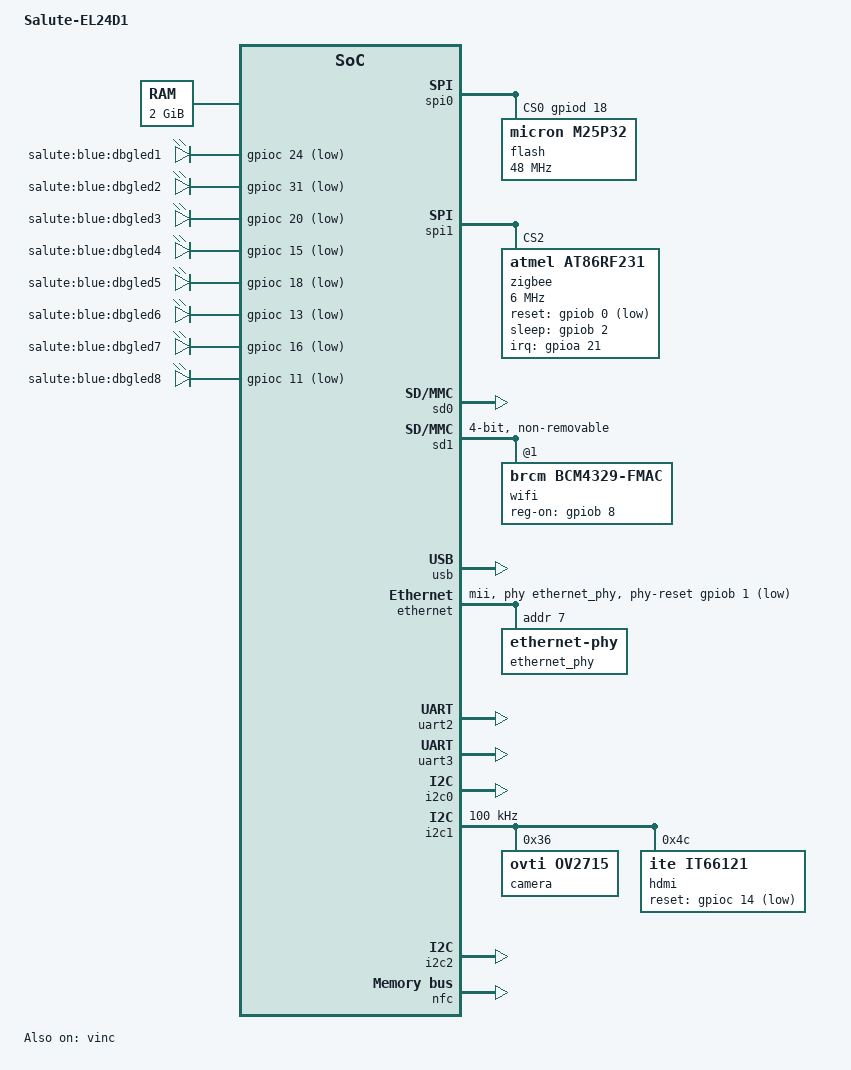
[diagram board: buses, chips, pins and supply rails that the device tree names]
/*
* Copyright 2015 ELVEES NeoTek CJSC
*
* This program is free software; you can redistribute it and/or modify
* it under the terms of the GNU General Public License version 2 as
* published by the Free Software Foundation.
*/

/dts-v1/;

#include <dt-bindings/interrupt-controller/irq.h>
#include <dt-bindings/gpio/gpio.h>

#include "mcom02.dtsi"

/ {
	model = "Salute-EL24D1";
	revision = "1.3";

	chosen {
		bootargs = "console=ttyS0,115200";
	};

	memory {
		device_type = "memory";
		reg = <0x40000000 0x40000000
		       0xa0000000 0x40000000>;
	};

	leds {
		compatible = "gpio-leds";

		dbgled@1 {
			label = "salute:blue:dbgled1";
			gpios = <&gpioc 24 GPIO_ACTIVE_LOW>;
			linux,default-trigger = "heartbeat";
		};

		dbgled@2 {
			label = "salute:blue:dbgled2";
			gpios = <&gpioc 31 GPIO_ACTIVE_LOW>;
			linux,default-trigger = "mmc0";
		};

		dbgled@3 {
			label = "salute:blue:dbgled3";
			gpios = <&gpioc 20 GPIO_ACTIVE_LOW>;
			default-state = "off";
		};

		dbgled@4 {
			label = "salute:blue:dbgled4";
			gpios = <&gpioc 15 GPIO_ACTIVE_LOW>;
			default-state = "off";
		};

		dbgled@5 {
			label = "salute:blue:dbgled5";
			gpios = <&gpioc 18 GPIO_ACTIVE_LOW>;
			default-state = "off";
		};

		dbgled@6 {
			label = "salute:blue:dbgled6";
			gpios = <&gpioc 13 GPIO_ACTIVE_LOW>;
			default-state = "off";
		};

		dbgled@7 {
			label = "salute:blue:dbgled7";
			gpios = <&gpioc 16 GPIO_ACTIVE_LOW>;
			default-state = "off";
		};

		dbgled@8 {
			label = "salute:blue:dbgled8";
			gpios = <&gpioc 11 GPIO_ACTIVE_LOW>;
			default-state = "off";
		};
	};
};

&spi0 {
	status = "okay";
	num-cs = <1>;
	cs-gpios = <&gpiod 18 GPIO_ACTIVE_HIGH>;

	flash: flash {
		#address-cells = <1>;
		#size-cells = <1>;
		compatible = "micron,m25p32", "jedec,spi-nor";
		reg = <0>;
		spi-max-frequency = <48000000>;
		m25p,fast-read;
	};
};

&spi1 {
	/* Synopsys SPI has hardware Chip Select support.
	* SPI1_nSS0 and SPI1_nSS1 are wired to X4, SPI1_nSS2
	* is wired to Zigbee. */

	status = "okay";

	zigbee: zigbee@2 {
		compatible = "atmel,at86rf231";
		/* max-frequency for at86rf231 is 7500000, but we
		 * set it to 6000000 because controller works more stable.
		 */
		spi-max-frequency = <6000000>;
		reg = <2>;
		interrupts = <21 IRQ_TYPE_LEVEL_HIGH>;
		interrupt-parent = <&gpioa>;
		reset-gpio = <&gpiob 0 GPIO_ACTIVE_LOW>;
		sleep-gpio = <&gpiob 2 GPIO_ACTIVE_HIGH>;
	};
};

&sd0 {
	status = "okay";
};

&sd1 {
	#address-cells = <1>;
	#size-cells = <0>;
	non-removable;
	broken-cd;
	bus-width = <4>;
	max-frequency = <50000000>;
	status = "okay";

	wifi: wifi {
		reg = <1>;
		compatible = "brcm,bcm4329-fmac";
		reg-on-gpio = <&gpiob 8 GPIO_ACTIVE_HIGH>;
	};
};

&usb {
	status = "okay";
};

&vinc {
	status = "okay";
	ports {
		port@0 {
			#address-cells = <1>;
			#size-cells = <0>;
			endpoint@0 {
				reg = <0>;
				remote-endpoint = <&ov2715endpoint>;
			};
		};
	};
};

&ethernet {
	#address-cells = <1>;
	#size-cells = <0>;
	status = "okay";
	phy-mode = "mii";
	phy-handle = <&ethernet_phy>;
	phy-reset-gpios = <&gpiob 1 GPIO_ACTIVE_HIGH>;

	ethernet_phy: ethernet-phy@7 {
		reg = <7>;
	};
};

/*
* RS-485 is used as physical layer for UART2
*/

&uart2 {
	status = "okay";
};

/*
* RS-232 is used as physical layer for UART3
*/

&uart3 {
	status = "okay";
};

&i2c0 {
	/* Connected to voltage regulator */
	status = "okay";
};

&i2c1 {
	/* Connected to HDMI transmitter, audio and sensors */
	status = "okay";
	clock-frequency = <100000>;
	camera@36 {
		compatible = "ovti,ov2715";
		reg = <0x36>;
		port {
			ov2715endpoint: endpoint {
				remote = <&{/vinc/ports/port@0/endpoint@0}>;
			};
		};
	};
	hdmi: it66121@4c {
		compatible = "ite,it66121";
		reg = <0x4c>;
		reset-gpios = <&gpioc 14 GPIO_ACTIVE_LOW>;
	};
};

&i2c2 {
	/* Wired out to PI connector */
	status = "okay";
};

&framebuffer {
	status = "okay";
	output = <&hdmi>;
};

&nfc {
	status = "okay";
	partition@0 {
		reg = <0x0 0x0000000 0x1 0x00000000>;
	};
};
